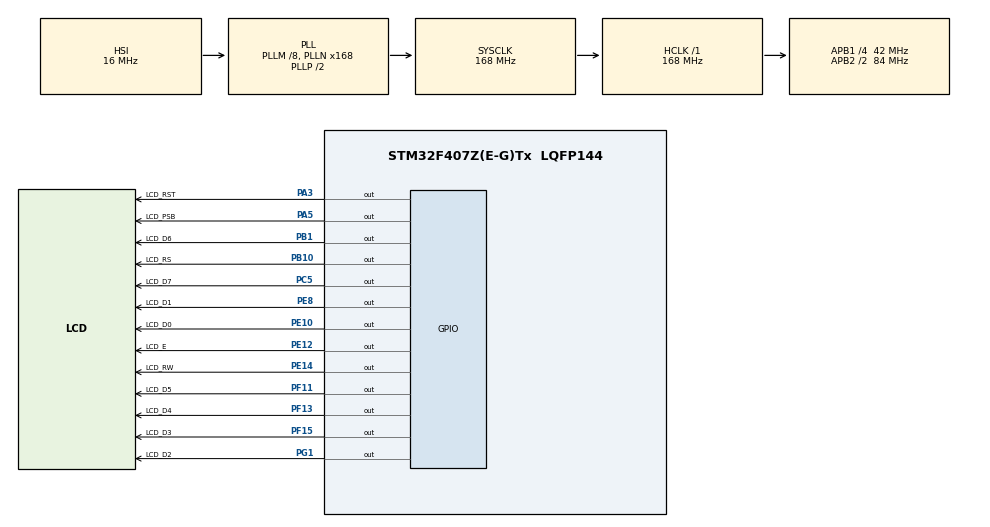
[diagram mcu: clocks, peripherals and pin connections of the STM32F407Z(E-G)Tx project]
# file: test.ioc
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Mcu.Family=STM32F4
PE12.GPIO_ModeDefaultOutputPP=GPIO_MODE_OUTPUT_OD
PB10.PinState=GPIO_PIN_SET
PE8.PinState=GPIO_PIN_SET
PH0-OSC_IN.Signal=RCC_OSC_IN
PE14.GPIO_Speed=GPIO_SPEED_FREQ_VERY_HIGH
RCC.CortexFreq_Value=168000000
PB10.GPIO_Speed=GPIO_SPEED_FREQ_VERY_HIGH
PB10.GPIO_PuPd=GPIO_PULLUP
PE8.GPIO_PuPd=GPIO_PULLUP
PA3.GPIO_PuPd=GPIO_PULLUP
PE10.GPIO_PuPd=GPIO_PULLUP
PF13.GPIO_ModeDefaultOutputPP=GPIO_MODE_OUTPUT_OD
PA3.GPIO_Speed=GPIO_SPEED_FREQ_VERY_HIGH
PA5.PinState=GPIO_PIN_SET
RCC.SYSCLKSource=RCC_SYSCLKSOURCE_PLLCLK
ProjectManager.StackSize=0x400
PB10.GPIO_ModeDefaultOutputPP=GPIO_MODE_OUTPUT_OD
PF11.GPIO_PuPd=GPIO_PULLUP
PB1.GPIO_PuPd=GPIO_PULLUP
RCC.HCLKFreq_Value=168000000
RCC.APB2TimFreq_Value=168000000
PF13.GPIO_Speed=GPIO_SPEED_FREQ_VERY_HIGH
PF11.GPIO_Label=LCD_D5
PE14.PinState=GPIO_PIN_SET
RCC.AHBFreq_Value=168000000
PH0-OSC_IN.Mode=HSE-External-Oscillator
RCC.HSE_VALUE=8000000
PB1.GPIO_Speed=GPIO_SPEED_FREQ_VERY_HIGH
PA14.Mode=Serial_Wire
PA5.GPIO_PuPd=GPIO_PULLUP
PB1.GPIO_Label=LCD_D6
PF11.Signal=GPIO_Output
PF11.PinState=GPIO_PIN_SET
PE10.GPIO_ModeDefaultOutputPP=GPIO_MODE_OUTPUT_OD
PE10.GPIO_Speed=GPIO_SPEED_FREQ_VERY_HIGH
PE10.Signal=GPIO_Output
PB1.PinState=GPIO_PIN_SET
PH1-OSC_OUT.Mode=HSE-External-Oscillator
Mcu.Package=LQFP144
PB1.Signal=GPIO_Output
PF15.GPIO_PuPd=GPIO_PULLUP
PG1.GPIO_PuPd=GPIO_PULLUP
PE12.GPIO_Label=LCD_E
PE12.GPIO_Speed=GPIO_SPEED_FREQ_VERY_HIGH
PE8.GPIO_Speed=GPIO_SPEED_FREQ_VERY_HIGH
RCC.APB2CLKDivider=RCC_HCLK_DIV2
RCC.APB1TimFreq_Value=84000000
PE8.GPIO_ModeDefaultOutputPP=GPIO_MODE_OUTPUT_OD
PF15.PinState=GPIO_PIN_SET
PG1.PinState=GPIO_PIN_SET
PC5.Signal=GPIO_Output
PE10.GPIO_Label=LCD_D0
PA3.Signal=GPIO_Output
PE12.GPIO_PuPd=GPIO_PULLUP
PE14.GPIO_ModeDefaultOutputPP=GPIO_MODE_OUTPUT_OD
PE10.PinState=GPIO_PIN_SET
PA3.GPIO_ModeDefaultOutputPP=GPIO_MODE_OUTPUT_OD
PG1.Signal=GPIO_Output
PE14.GPIO_Label=LCD_RW
PF13.PinState=GPIO_PIN_SET
RCC.APB1CLKDivider=RCC_HCLK_DIV4
PC5.GPIO_PuPd=GPIO_PULLUP
PF13.GPIO_Label=LCD_D4
PF11.GPIO_Speed=GPIO_SPEED_FREQ_VERY_HIGH
PA13.Signal=SYS_JTMS-SWDIO
ProjectManager.TargetToolchain=MDK-ARM V5.27
PB10.GPIO_Label=LCD_RS
PE8.GPIO_Label=LCD_D1
PG1.GPIO_ModeDefaultOutputPP=GPIO_MODE_OUTPUT_OD
RCC.LSE_VALUE=32768
PB10.Signal=GPIO_Output
PA5.Signal=GPIO_Output
board=custom
RCC.VCOOutputFreq_Value=336000000
PG1.GPIO_Label=LCD_D2
PF15.GPIO_Speed=GPIO_SPEED_FREQ_VERY_HIGH
PF13.GPIO_PuPd=GPIO_PULLUP
RCC.APB2Freq_Value=84000000
PE14.Signal=GPIO_Output
PA5.GPIO_ModeDefaultOutputPP=GPIO_MODE_OUTPUT_OD
PE8.Signal=GPIO_Output
PH1-OSC_OUT.Signal=RCC_OSC_OUT
PF15.GPIO_Label=LCD_D3
PF15.Signal=GPIO_Output
PF13.Signal=GPIO_Output
PE14.GPIO_PuPd=GPIO_PULLUP
PF15.GPIO_ModeDefaultOutputPP=GPIO_MODE_OUTPUT_OD
PA13.Mode=Serial_Wire
Mcu.Name=STM32F407Z(E-G)Tx
PG1.GPIO_Speed=GPIO_SPEED_FREQ_VERY_HIGH
PE12.Signal=GPIO_Output
PE12.PinState=GPIO_PIN_SET
RCC.48MHZClocksFreq_Value=84000000
PF11.GPIO_ModeDefaultOutputPP=GPIO_MODE_OUTPUT_OD
RCC.SYSCLKFreq_VALUE=168000000
PC5.PinState=GPIO_PIN_SET
PA5.GPIO_Label=LCD_PSB
PC5.GPIO_Label=LCD_D7
PA14.Signal=SYS_JTCK-SWCLK
ProjectManager.HeapSize=0x200
RCC.HSI_VALUE=16000000
PA5.GPIO_Speed=GPIO_SPEED_FREQ_VERY_HIGH
NVIC.PriorityGroup=NVIC_PRIORITYGROUP_4
PC5.GPIO_Speed=GPIO_SPEED_FREQ_VERY_HIGH
RCC.PLLM=8
RCC.PLLN=168
PA3.PinState=GPIO_PIN_SET
PB1.GPIO_ModeDefaultOutputPP=GPIO_MODE_OUTPUT_OD
RCC.APB1Freq_Value=42000000
PC5.GPIO_ModeDefaultOutputPP=GPIO_MODE_OUTPUT_OD
PA3.GPIO_Label=LCD_RST

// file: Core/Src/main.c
/* USER CODE BEGIN Header */
/**
  ******************************************************************************
  * @file           : main.c
  * @brief          : Main program body
  ******************************************************************************
  * @attention
  *
  * <h2><center>&copy; Copyright (c) 2021 STMicroelectronics.
  * All rights reserved.</center></h2>
  *
  * This software component is licensed by ST under BSD 3-Clause license,
  * the "License"; You may not use this file except in compliance with the
  * License. You may obtain a copy of the License at:
  *                        opensource.org/licenses/BSD-3-Clause
  *
  ******************************************************************************
  */
/* USER CODE END Header */
#include "main.h"
#include "gpio.h"

/* USER CODE BEGIN Includes */
#include "lcd12864.h"
#include "lcd12864_graph.h"
#include "graph_lib.h"
#include "stdio.h"
#include "string.h"
/* USER CODE END Includes */

/* USER CODE BEGIN PTD */

const uint8_t sun_BMP[32] =
{
    0x00,0x00,0x80,0x00,0xA4,0x12,0x08,0x08,0xC0,0x01,0xE4,0x13,0xF0,0x07,0xF6,0x37
   ,0xF0,0x07,0xE4,0x13,0xC0,0x01,0x00,0x08,0xA8,0x14,0x84,0x00,0x00,0x00,0x00,0x00
};
/* USER CODE END PTD */

/* USER CODE BEGIN PV */
	uint8_t str1[] = "2021";
	uint8_t str2[] = " 02-15";
	uint8_t str3[] = "17:37-30";
	uint8_t str4[] = "SAT";
	uint8_t str5[] = "26";

/* USER CODE END PV */

void SystemClock_Config(void);

int main(void)
{

  /* MCU Configuration--------------------------------------------------------*/

  /* Reset of all peripherals, Initializes the Flash interface and the Systick. */
  HAL_Init();

  /* Configure the system clock */
  SystemClock_Config();

  /* Initialize all configured peripherals */
  MX_GPIO_Init();
  /* USER CODE BEGIN 2 */
	HAL_Delay(100);
  lcd_init();

  /* USER CODE END 2 */

  /* Infinite loop */
  while (1)
  {

    /* USER CODE BEGIN 3 */
		graph_fill(pix_off);
		graph_draw_line(32,32,32,52,0);
		graph_draw_circule(32,32,31,0);
		graph_draw_text(72, 0, str1, strlen((const char *)str1), 16);
		graph_draw_BMP(108, 0, 16, 16, sun_BMP);
		graph_draw_text(68, 16, str2, strlen((const char *)str2), 16);
		graph_draw_text(64, 32, str3, strlen((const char *)str3), 16);
		graph_draw_text(64, 48, str4, strlen((const char *)str4), 16);
		graph_draw_text(96, 48, str5, strlen((const char *)str5), 16);
		graph_draw_celsius(96+8*2, 48, 16);
		graph_refresh();
  }
  /* USER CODE END 3 */
}

void SystemClock_Config(void)
{
  RCC_OscInitTypeDef RCC_OscInitStruct = {0};
  RCC_ClkInitTypeDef RCC_ClkInitStruct = {0};

  /** Configure the main internal regulator output voltage
  */
  __HAL_RCC_PWR_CLK_ENABLE();
  __HAL_PWR_VOLTAGESCALING_CONFIG(PWR_REGULATOR_VOLTAGE_SCALE1);
  /** Initializes the RCC Oscillators according to the specified parameters
  * in the RCC_OscInitTypeDef structure.
  */
  RCC_OscInitStruct.OscillatorType = RCC_OSCILLATORTYPE_HSI;
  RCC_OscInitStruct.HSIState = RCC_HSI_ON;
  RCC_OscInitStruct.HSICalibrationValue = RCC_HSICALIBRATION_DEFAULT;
  RCC_OscInitStruct.PLL.PLLState = RCC_PLL_ON;
  RCC_OscInitStruct.PLL.PLLSource = RCC_PLLSOURCE_HSI;
  RCC_OscInitStruct.PLL.PLLM = 8;
  RCC_OscInitStruct.PLL.PLLN = 168;
  RCC_OscInitStruct.PLL.PLLP = RCC_PLLP_DIV2;
  RCC_OscInitStruct.PLL.PLLQ = 4;
  if (HAL_RCC_OscConfig(&RCC_OscInitStruct) != HAL_OK)
  {
    Error_Handler();
  }
  /** Initializes the CPU, AHB and APB buses clocks
  */
  RCC_ClkInitStruct.ClockType = RCC_CLOCKTYPE_HCLK|RCC_CLOCKTYPE_SYSCLK
                              |RCC_CLOCKTYPE_PCLK1|RCC_CLOCKTYPE_PCLK2;
  RCC_ClkInitStruct.SYSCLKSource = RCC_SYSCLKSOURCE_PLLCLK;
  RCC_ClkInitStruct.AHBCLKDivider = RCC_SYSCLK_DIV1;
  RCC_ClkInitStruct.APB1CLKDivider = RCC_HCLK_DIV4;
  RCC_ClkInitStruct.APB2CLKDivider = RCC_HCLK_DIV2;

  if (HAL_RCC_ClockConfig(&RCC_ClkInitStruct, FLASH_LATENCY_5) != HAL_OK)
  {
    Error_Handler();
  }
}

void Error_Handler(void)
{
  __disable_irq();
  while (1)
  {
  }
}

/************************ (C) COPYRIGHT STMicroelectronics *****END OF FILE****/
